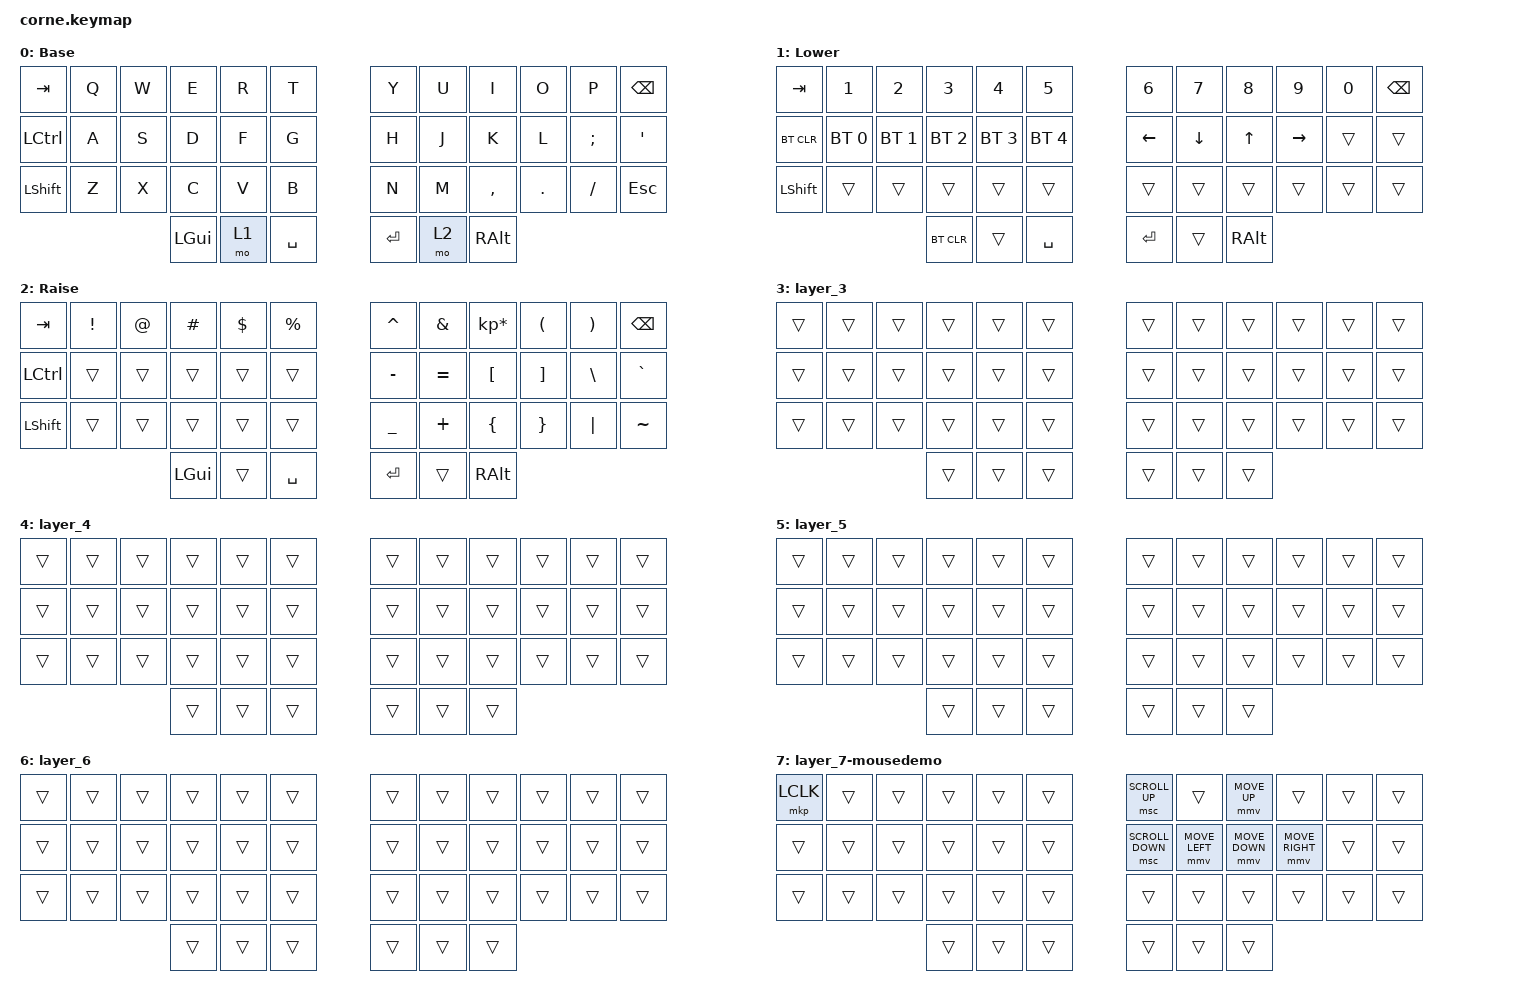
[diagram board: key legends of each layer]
/*
 * Copyright (c) 2020 The ZMK Contributors
 *
 * SPDX-License-Identifier: MIT
 */

#include "mouse.dtsi"
#include <behaviors.dtsi>
#include <dt-bindings/zmk/bt.h>
#include <dt-bindings/zmk/keys.h>
#include <dt-bindings/zmk/mouse.h>

/ {
    chosen { zmk,matrix_transform = &default_transform; };

    keymap {
        compatible = "zmk,keymap";

        default_layer {
            // -----------------------------------------------------------------------------------------
            // |  TAB |  Q  |  W  |  E  |  R  |  T  |   |  Y  |  U   |  I  |  O  |  P  | BKSP |
            // | CTRL |  A  |  S  |  D  |  F  |  G  |   |  H  |  J   |  K  |  L  |  ;  |  '   |
            // | SHFT |  Z  |  X  |  C  |  V  |  B  |   |  N  |  M   |  ,  |  .  |  /  | ESC  |
            //                    | GUI | LWR | SPC |   | ENT | RSE  | ALT |

            display-name = "Base";
            bindings = <
&kp TAB    &kp Q  &kp W  &kp E     &kp R  &kp T        &kp Y    &kp U  &kp I      &kp O    &kp P     &kp BSPC
&kp LCTRL  &kp A  &kp S  &kp D     &kp F  &kp G        &kp H    &kp J  &kp K      &kp L    &kp SEMI  &kp SQT
&kp LSHFT  &kp Z  &kp X  &kp C     &kp V  &kp B        &kp N    &kp M  &kp COMMA  &kp DOT  &kp FSLH  &kp ESC
                         &kp LGUI  &mo 1  &kp SPACE    &kp RET  &mo 2  &kp RALT
            >;
        };

        lower_layer {
            // -----------------------------------------------------------------------------------------
            // |  TAB |  1  |  2  |  3  |  4  |  5  |   |  6  |  7  |  8  |  9  |  0  | BKSP |
            // | BTCLR| BT1 | BT2 | BT3 | BT4 | BT5 |   | LFT | DWN |  UP | RGT |     |      |
            // | SHFT |     |     |     |     |     |   |     |     |     |     |     |      |
            //                    |BTCLR|     | SPC |   | ENT |     | ALT |

            display-name = "Lower";
            bindings = <
&kp TAB     &kp N1        &kp N2        &kp N3        &kp N4        &kp N5          &kp N6    &kp N7    &kp N8    &kp N9     &kp N0  &kp BSPC
&bt BT_CLR  &bt BT_SEL 0  &bt BT_SEL 1  &bt BT_SEL 2  &bt BT_SEL 3  &bt BT_SEL 4    &kp LEFT  &kp DOWN  &kp UP    &kp RIGHT  &trans  &trans
&kp LSHFT   &trans        &trans        &trans        &trans        &trans          &trans    &trans    &trans    &trans     &trans  &trans
                                        &bt BT_CLR    &trans        &kp SPACE       &kp RET   &trans    &kp RALT
            >;
        };

        raise_layer {
            // -----------------------------------------------------------------------------------------
            // |  TAB |  !  |  @  |  #  |  $  |  %  |   |  ^  |  &  |  *  |  (  |  )  | BKSP |
            // | CTRL |     |     |     |     |     |   |  -  |  =  |  [  |  ]  |  \  |  `   |
            // | SHFT |     |     |     |     |     |   |  _  |  +  |  {  |  }  | "|" |  ~   |
            //                    | GUI |     | SPC |   | ENT |     | ALT |

            display-name = "Raise";
            bindings = <
&kp TAB    &kp EXCL  &kp AT  &kp HASH  &kp DLLR  &kp PRCNT    &kp CARET  &kp AMPS   &kp KP_MULTIPLY  &kp LPAR  &kp RPAR  &kp BSPC
&kp LCTRL  &trans    &trans  &trans    &trans    &trans       &kp MINUS  &kp EQUAL  &kp LBKT         &kp RBKT  &kp BSLH  &kp GRAVE
&kp LSHFT  &trans    &trans  &trans    &trans    &trans       &kp UNDER  &kp PLUS   &kp LBRC         &kp RBRC  &kp PIPE  &kp TILDE
                             &kp LGUI  &trans    &kp SPACE    &kp RET    &trans     &kp RALT
            >;
        };

        layer_3 {
            bindings = <
&trans  &trans  &trans  &trans  &trans  &trans    &trans  &trans  &trans  &trans  &trans  &trans
&trans  &trans  &trans  &trans  &trans  &trans    &trans  &trans  &trans  &trans  &trans  &trans
&trans  &trans  &trans  &trans  &trans  &trans    &trans  &trans  &trans  &trans  &trans  &trans
                        &trans  &trans  &trans    &trans  &trans  &trans
            >;
        };

        layer_4 {
            bindings = <
&trans  &trans  &trans  &trans  &trans  &trans    &trans  &trans  &trans  &trans  &trans  &trans
&trans  &trans  &trans  &trans  &trans  &trans    &trans  &trans  &trans  &trans  &trans  &trans
&trans  &trans  &trans  &trans  &trans  &trans    &trans  &trans  &trans  &trans  &trans  &trans
                        &trans  &trans  &trans    &trans  &trans  &trans
            >;
        };

        layer_5 {
            bindings = <
&trans  &trans  &trans  &trans  &trans  &trans    &trans  &trans  &trans  &trans  &trans  &trans
&trans  &trans  &trans  &trans  &trans  &trans    &trans  &trans  &trans  &trans  &trans  &trans
&trans  &trans  &trans  &trans  &trans  &trans    &trans  &trans  &trans  &trans  &trans  &trans
                        &trans  &trans  &trans    &trans  &trans  &trans
            >;
        };

        layer_6 {
            bindings = <
&trans  &trans  &trans  &trans  &trans  &trans    &trans  &trans  &trans  &trans  &trans  &trans
&trans  &trans  &trans  &trans  &trans  &trans    &trans  &trans  &trans  &trans  &trans  &trans
&trans  &trans  &trans  &trans  &trans  &trans    &trans  &trans  &trans  &trans  &trans  &trans
                        &trans  &trans  &trans    &trans  &trans  &trans
            >;
        };

        layer_7-mousedemo {
            bindings = <
&mkp LCLK  &trans  &trans  &trans  &trans  &trans    &msc SCROLL_UP    &trans          &mmv MOVE_UP    &trans           &trans  &trans
&trans     &trans  &trans  &trans  &trans  &trans    &msc SCROLL_DOWN  &mmv MOVE_LEFT  &mmv MOVE_DOWN  &mmv MOVE_RIGHT  &trans  &trans
&trans     &trans  &trans  &trans  &trans  &trans    &trans            &trans          &trans          &trans           &trans  &trans
                           &trans  &trans  &trans    &trans            &trans          &trans
            >;
        };
    };
};
